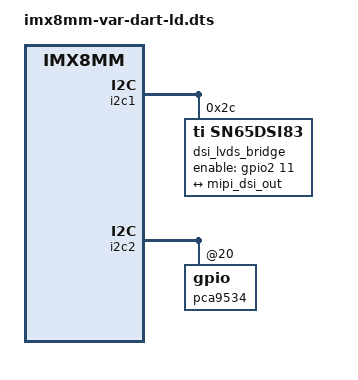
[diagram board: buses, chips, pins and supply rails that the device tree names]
// SPDX-License-Identifier: (GPL-2.0+ OR MIT)
/*
 * Copyright 2019 NXP
 * Copyright 2019-2020 Variscite Ltd.
 */

/dts-v1/;

#include "imx8mm-var-dart.dts"

&i2c1 {
	dsi_lvds_bridge: sn65dsi84@2c {
		compatible = "ti,sn65dsi83";
		reg = <0x2c>;
		ti,dsi-lanes = <4>;
		ti,lvds-format = <1>;
		ti,lvds-bpp = <24>;
		ti,lvds-channels = <2>;
		ti,width-mm = <154>;
		ti,height-mm = <87>;
		enable-gpios = <&gpio2 11 GPIO_ACTIVE_HIGH>;
		pinctrl-names = "default";
		pinctrl-0 = <&pinctrl_lvds>;
		status = "okay";

		display-timings {
			lvds {
				clock-frequency = <66000000>;
				hactive = <1600>;
				vactive = <480>;
				hback-porch = <80>;
				hfront-porch = <80>;
				vback-porch = <29>;
				vfront-porch = <13>;
				hsync-len = <100>;
				vsync-len = <3>;
				hsync-active = <0>;
				vsync-active = <0>;
				de-active = <1>;
				pixelclk-active = <0>;
			};
		};

		port {
			dsi_lvds_bridge_in: endpoint {
				remote-endpoint = <&mipi_dsi_out>;
			};
		};
	};
};

&i2c2 {
        pca9534: gpio@20 {
		/delete-node/ hdmi_on_hog;
	};

	/delete-node/ sn65dsi84@2c;
};
